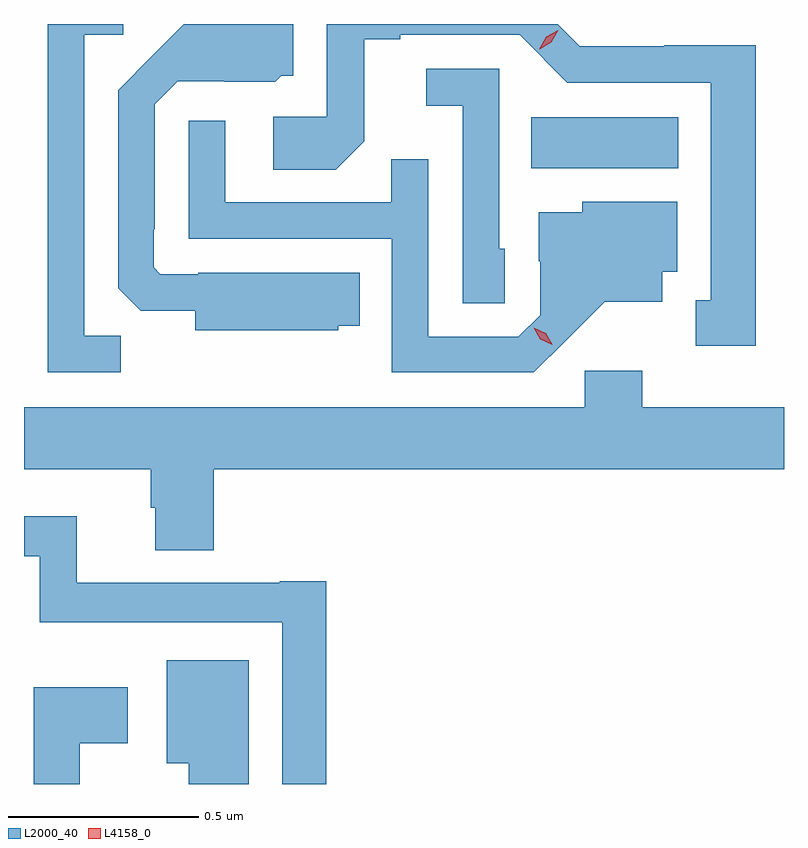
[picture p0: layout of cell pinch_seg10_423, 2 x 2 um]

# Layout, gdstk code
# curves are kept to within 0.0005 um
import gdstk
lib = gdstk.Library(unit=1e-6, precision=1e-09)
def R(c, l, rs):  # rectangles x0, y0, x1, y1
    for r in rs: c.add(gdstk.rectangle(r[:2], r[2:], *l))
def P(c, l, *ps):  # polygons
    for p in ps: c.add(gdstk.Polygon(p, *l))
L2000_40 = (2000, 40)
L4158_0 = (4158, 0)

pinch_seg10_423 = lib.new_cell('pinch_seg10_423')
R(pinch_seg10_423, L2000_40, [(580.48,1253.156,580.867,1253.29)])
P(pinch_seg10_423, L2000_40, [(581.071,1253.48),(580.83,1253.48),(580.83,1253.478),(580.608,1253.478),(580.55,1253.536),(579.942,1253.536),(579.942,1253.292),(579.801,1253.292),(579.801,1253.152),(579.965,1253.152),(580.041,1253.228),(580.041,1253.496),(580.135,1253.496),(580.135,1253.508),(580.449,1253.508),(580.575,1253.382),(580.952,1253.382),(580.952,1252.809),(580.913,1252.809),(580.913,1252.689),(581.071,1252.689)],
  [(579.972,1252.742),(580.028,1252.742),(580.028,1252.882),(579.604,1252.882),(579.604,1252.878),(579.504,1252.878),(579.486,1252.896),(579.486,1252.996),(579.489,1252.996),(579.489,1253.325),(579.549,1253.385),(579.672,1253.385),(579.672,1253.384),(579.806,1253.384),(579.822,1253.4),(579.853,1253.4),(579.853,1253.536),(579.565,1253.536),(579.393,1253.362),(579.393,1252.84),(579.452,1252.781),(579.596,1252.781),(579.596,1252.73),(579.972,1252.73)],
  [(579.399,1252.715),(579.303,1252.715),(579.303,1253.508),(579.406,1253.508),(579.406,1253.536),(579.207,1253.536),(579.207,1252.62),(579.399,1252.62)],
  [(580.41,1252.944),(580.395,1252.944),(580.395,1253.418),(580.203,1253.418),(580.203,1253.321),(580.299,1253.321),(580.299,1252.801),(580.41,1252.801)],
  [(580.57,1252.703),(580.673,1252.805),(580.825,1252.805),(580.825,1252.884),(580.864,1252.884),(580.864,1253.068),(580.614,1253.068),(580.614,1253.041),(580.499,1253.041),(580.499,1252.912),(580.503,1252.912),(580.503,1252.77),(580.446,1252.713),(580.209,1252.713),(580.209,1253.18),(580.111,1253.18),(580.111,1253.067),(579.675,1253.067),(579.675,1253.281),(579.579,1253.281),(579.579,1252.971),(580.113,1252.971),(580.113,1252.62),(580.486,1252.62)],
  [(579.644,1252.364),(581.145,1252.364),(581.145,1252.528),(580.772,1252.528),(580.772,1252.624),(580.62,1252.624),(580.62,1252.528),(579.145,1252.528),(579.145,1252.364),(579.479,1252.364),(579.479,1252.263),(579.491,1252.263),(579.491,1252.151),(579.644,1252.151)],
  [(579.941,1252.069),(579.818,1252.069),(579.818,1252.066),(579.284,1252.066),(579.284,1252.24),(579.145,1252.24),(579.145,1252.136),(579.186,1252.136),(579.186,1251.962),(579.825,1251.962),(579.825,1251.536),(579.941,1251.536)],
  [(579.736,1251.862),(579.521,1251.862),(579.521,1251.59),(579.578,1251.59),(579.578,1251.536),(579.736,1251.536)],
  [(579.292,1251.643),(579.418,1251.643),(579.418,1251.79),(579.17,1251.79),(579.17,1251.536),(579.292,1251.536)])
P(pinch_seg10_423, L4158_0, [(580.501,1253.469),(580.501,1253.469),(580.519,1253.502),(580.551,1253.52),(580.551,1253.52),(580.551,1253.52),(580.533,1253.488),(580.502,1253.469)],
  [(580.535,1252.692),(580.504,1252.707),(580.486,1252.737),(580.486,1252.737),(580.487,1252.737),(580.518,1252.722),(580.535,1252.693),(580.535,1252.692)])

lib.write_gds('pinch_seg10_423.gds')
